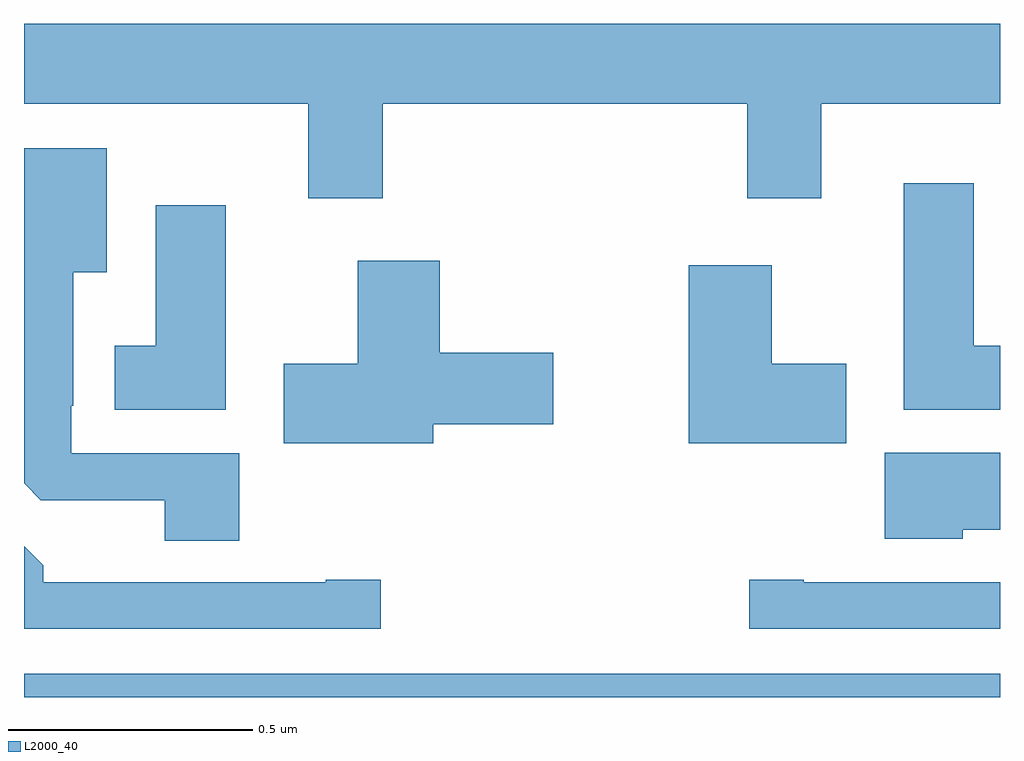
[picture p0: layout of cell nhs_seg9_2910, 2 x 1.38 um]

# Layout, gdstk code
import gdstk
lib = gdstk.Library(unit=1e-6, precision=1e-09)
def R(c, l, rs):  # rectangles x0, y0, x1, y1
    for r in rs: c.add(gdstk.rectangle(r[:2], r[2:], *l))
def P(c, l, *ps):  # polygons
    for p in ps: c.add(gdstk.Polygon(p, *l))
L2000_40 = (2000, 40)

nhs_seg9_2910 = lib.new_cell('nhs_seg9_2910')
R(nhs_seg9_2910, L2000_40, [(146,1232.5,148,1232.548)])
P(nhs_seg9_2910, L2000_40, [(146.735,1233.716),(147.482,1233.716),(147.482,1233.522),(147.634,1233.522),(147.634,1233.716),(148,1233.716),(148,1233.88),(146,1233.88),(146,1233.716),(146.582,1233.716),(146.582,1233.522),(146.735,1233.522)],
  [(146.441,1233),(146.097,1233),(146.097,1233.097),(146.101,1233.097),(146.101,1233.371),(146.17,1233.371),(146.17,1233.625),(146,1233.625),(146,1232.938),(146.034,1232.904),(146.288,1232.904),(146.288,1232.821),(146.441,1232.821)],
  [(148,1233.22),(147.946,1233.22),(147.946,1233.553),(147.803,1233.553),(147.803,1233.089),(148,1233.089)],
  [(146.413,1233.508),(146.27,1233.508),(146.27,1233.22),(146.186,1233.22),(146.186,1233.089),(146.413,1233.089)],
  [(146.839,1233.059),(147.085,1233.059),(147.085,1233.206),(146.852,1233.206),(146.852,1233.394),(146.684,1233.394),(146.684,1233.183),(146.532,1233.183),(146.532,1233.02),(146.839,1233.02)],
  [(147.685,1233.183),(147.532,1233.183),(147.532,1233.385),(147.362,1233.385),(147.362,1233.02),(147.685,1233.02)],
  [(147.924,1232.843),(148,1232.843),(148,1233.001),(147.764,1233.001),(147.764,1232.825),(147.924,1232.825)],
  [(146.731,1232.741),(146.618,1232.741),(146.618,1232.736),(146.039,1232.736),(146.039,1232.77),(146,1232.809),(146,1232.64),(146.731,1232.64)],
  [(148,1232.736),(147.598,1232.736),(147.598,1232.741),(147.486,1232.741),(147.486,1232.64),(148,1232.64)])

lib.write_gds('nhs_seg9_2910.gds')
